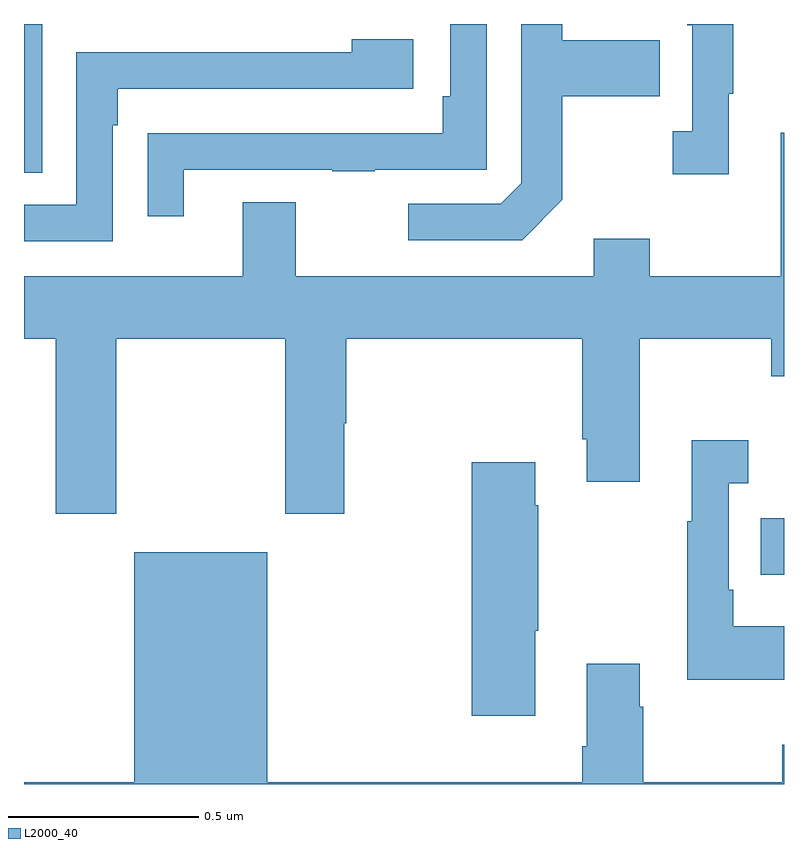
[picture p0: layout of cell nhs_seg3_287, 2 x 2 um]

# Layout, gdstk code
import gdstk
lib = gdstk.Library(unit=1e-6, precision=1e-09)
def R(c, l, rs):  # rectangles x0, y0, x1, y1
    for r in rs: c.add(gdstk.rectangle(r[:2], r[2:], *l))
def P(c, l, *ps):  # polygons
    for p in ps: c.add(gdstk.Polygon(p, *l))
L2000_40 = (2000, 40)

nhs_seg3_287 = lib.new_cell('nhs_seg3_287')
R(nhs_seg3_287, L2000_40, [(115.939,710.951,116,711.099), (114,712.009,114.048,712.4)])
P(nhs_seg3_287, L2000_40, [(115.417,711.937),(115.417,712.21),(115.673,712.21),(115.673,712.357),(115.417,712.357),(115.417,712.4),(115.308,712.4),(115.308,711.981),(115.254,711.927),(115.011,711.927),(115.011,711.831),(115.311,711.831)],
  [(115.855,712.217),(115.867,712.217),(115.867,712.4),(115.746,712.4),(115.746,712.397),(115.758,712.397),(115.758,712.118),(115.707,712.118),(115.707,712.005),(115.855,712.005)],
  [(114.421,712.017),(114.811,712.017),(114.811,712.012),(114.923,712.012),(114.923,712.017),(115.218,712.017),(115.218,712.4),(115.122,712.4),(115.122,712.21),(115.102,712.21),(115.102,712.113),(114.427,712.113),(114.427,712.112),(114.325,712.112),(114.325,711.894),(114.421,711.894)],
  [(114.234,712.133),(114.247,712.133),(114.247,712.23),(115.024,712.23),(115.024,712.36),(114.863,712.36),(114.863,712.326),(114.138,712.326),(114.138,711.924),(114,711.924),(114,711.828),(114.234,711.828)],
  [(114.243,711.572),(114.688,711.572),(114.688,711.111),(114.843,711.111),(114.843,711.35),(114.848,711.35),(114.848,711.572),(115.469,711.572),(115.469,711.307),(115.481,711.307),(115.481,711.195),(115.621,711.195),(115.621,711.572),(115.966,711.572),(115.966,711.473),(116,711.473),(116,712.114),(115.991,712.114),(115.991,711.736),(115.647,711.736),(115.647,711.835),(115.499,711.835),(115.499,711.736),(114.715,711.736),(114.715,711.931),(114.575,711.931),(114.575,711.736),(114,711.736),(114,711.572),(114.083,711.572),(114.083,711.111),(114.243,711.111)],
  [(116,710.815),(115.867,710.815),(115.867,710.911),(115.854,710.911),(115.854,711.191),(115.906,711.191),(115.906,711.304),(115.757,711.304),(115.757,711.091),(115.746,711.091),(115.746,710.675),(116,710.675)],
  [(115.345,710.803),(115.353,710.803),(115.353,711.134),(115.345,711.134),(115.345,711.247),(115.178,711.247),(115.178,710.58),(115.345,710.58)],
  [(116,710.503),(115.996,710.503),(115.996,710.404),(115.629,710.404),(115.629,710.603),(115.621,710.603),(115.621,710.716),(115.481,710.716),(115.481,710.5),(115.469,710.5),(115.469,710.404),(114.64,710.404),(114.64,711.01),(114.29,711.01),(114.29,710.404),(114,710.404),(114,710.4),(116,710.4)])

lib.write_gds('nhs_seg3_287.gds')
